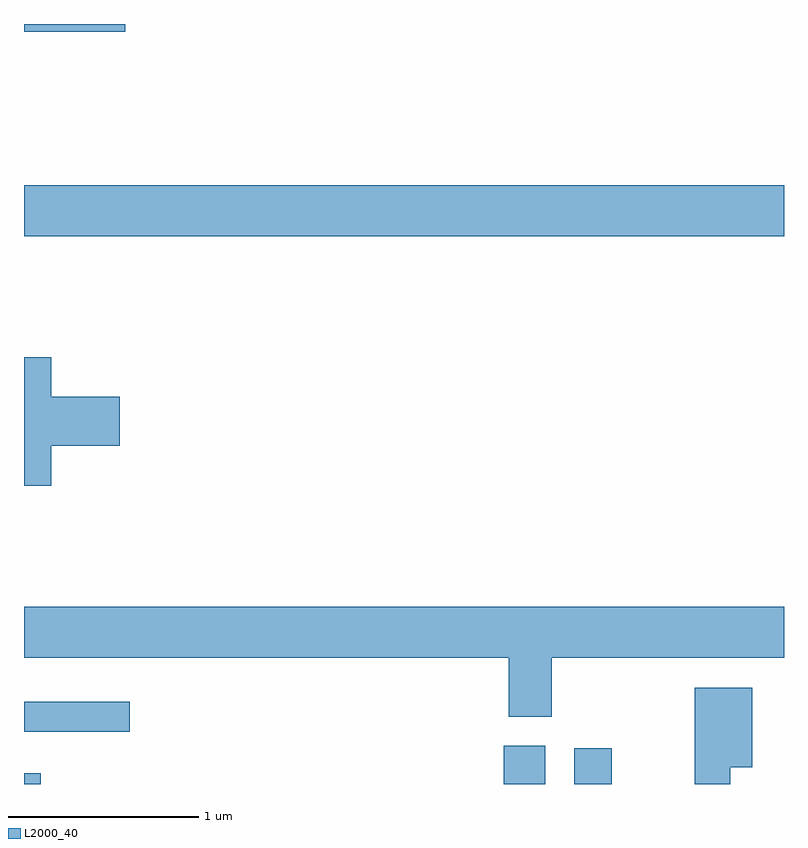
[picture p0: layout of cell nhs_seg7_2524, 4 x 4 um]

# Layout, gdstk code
import gdstk
lib = gdstk.Library(unit=1e-6, precision=1e-09)
def R(c, l, rs):  # rectangles x0, y0, x1, y1
    for r in rs: c.add(gdstk.rectangle(r[:2], r[2:], *l))
def P(c, l, *ps):  # polygons
    for p in ps: c.add(gdstk.Polygon(p, *l))
L2000_40 = (2000, 40)

nhs_seg7_2524 = lib.new_cell('nhs_seg7_2524')
R(nhs_seg7_2524, L2000_40, [(261.611,1780.252,261.699,1780.309), (264.136,1780.252,264.354,1780.454), (264.506,1780.252,264.704,1780.439), (261.611,1780.526,262.168,1780.684), (261.611,1783.136,265.611,1783.404), (261.611,1784.211,262.144,1784.252)])
P(nhs_seg7_2524, L2000_40, [(261.754,1782.031),(262.114,1782.031),(262.114,1782.289),(261.754,1782.289),(261.754,1782.499),(261.611,1782.499),(261.611,1781.821),(261.754,1781.821)],
  [(264.389,1780.916),(265.611,1780.916),(265.611,1781.184),(261.611,1781.184),(261.611,1780.916),(264.161,1780.916),(264.161,1780.606),(264.389,1780.606)],
  [(265.329,1780.341),(265.444,1780.341),(265.444,1780.759),(265.141,1780.759),(265.141,1780.252),(265.329,1780.252)])

lib.write_gds('nhs_seg7_2524.gds')
